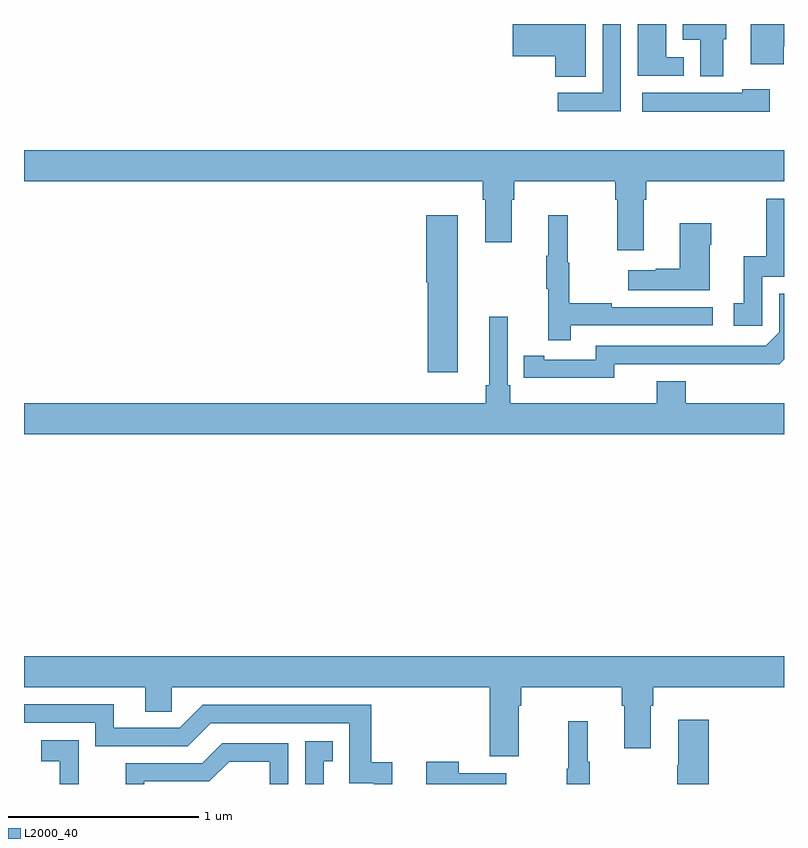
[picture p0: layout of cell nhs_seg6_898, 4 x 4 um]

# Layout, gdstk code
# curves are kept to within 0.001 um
import gdstk
lib = gdstk.Library(unit=1e-6, precision=1e-09)
def P(c, l, *ps):  # polygons
    for p in ps: c.add(gdstk.Polygon(p, *l))
L2000_40 = (2000, 40)

nhs_seg6_898 = lib.new_cell('nhs_seg6_898')
P(nhs_seg6_898, L2000_40, [(170.998,945.383),(171,945.383),(171,945.5),(170.825,945.5),(170.825,945.287),(170.998,945.287)],
  [(170.473,945.324),(170.38,945.324),(170.38,945.5),(170.231,945.5),(170.231,945.228),(170.473,945.228)],
  [(169.957,945.5),(169.572,945.5),(169.572,945.329),(169.796,945.329),(169.796,945.223),(169.957,945.223)],
  [(170.142,945.5),(170.046,945.5),(170.046,945.138),(169.809,945.138),(169.809,945.041),(170.142,945.041)],
  [(170.68,945.42),(170.695,945.42),(170.695,945.5),(170.468,945.5),(170.468,945.416),(170.558,945.416),(170.558,945.224),(170.68,945.224)],
  [(170.926,945.157),(170.781,945.157),(170.781,945.139),(170.253,945.139),(170.253,945.038),(170.926,945.038)],
  [(167,944.672),(169.415,944.672),(169.415,944.576),(169.427,944.576),(169.427,944.352),(169.567,944.352),(169.567,944.576),(169.58,944.576),(169.58,944.672),(170.111,944.672),(170.111,944.576),(170.123,944.576),(170.123,944.31),(170.263,944.31),(170.263,944.576),(170.276,944.576),(170.276,944.672),(171,944.672),(171,944.836),(167,944.836)],
  [(170.886,944.169),(171,944.169),(171,944.58),(170.907,944.58),(170.907,944.278),(170.789,944.278),(170.789,944.031),(170.736,944.031),(170.736,943.911),(170.886,943.911)],
  [(169.282,944.494),(169.118,944.494),(169.118,944.142),(169.124,944.142),(169.124,943.668),(169.282,943.668)],
  [(169.877,943.914),(170.626,943.914),(170.626,944.01),(170.093,944.01),(170.093,944.03),(169.87,944.03),(169.87,944.244),(169.862,944.244),(169.862,944.494),(169.76,944.494),(169.76,944.281),(169.749,944.281),(169.749,944.107),(169.76,944.107),(169.76,943.836),(169.877,943.836)],
  [(170.608,944.339),(170.616,944.339),(170.616,944.452),(170.45,944.452),(170.45,944.213),(170.324,944.213),(170.324,944.203),(170.181,944.203),(170.181,944.099),(170.608,944.099)],
  [(170.106,943.71),(170.974,943.709),(171,943.735),(171,944.079),(170.976,944.079),(170.976,943.878),(170.904,943.806),(170.01,943.806),(170.01,943.734),(169.738,943.734),(169.738,943.754),(169.63,943.754),(169.63,943.638),(170.106,943.637)],
  [(171,943.504),(170.483,943.504),(170.483,943.621),(170.33,943.621),(170.33,943.504),(169.559,943.504),(169.559,943.6),(169.545,943.6),(169.545,943.96),(169.448,943.96),(169.448,943.6),(169.429,943.6),(169.429,943.504),(167,943.504),(167,943.34),(171,943.34)],
  [(169.603,941.912),(169.616,941.912),(169.616,942.008),(170.147,942.008),(170.147,941.912),(170.159,941.912),(170.159,941.688),(170.299,941.688),(170.299,941.912),(170.312,941.912),(170.312,942.008),(171,942.008),(171,942.172),(167,942.172),(167,942.008),(167.639,942.008),(167.639,941.881),(167.778,941.881),(167.778,942.008),(169.451,942.008),(169.451,941.646),(169.603,941.646)],
  [(168.938,941.614),(168.827,941.614),(168.827,941.916),(167.94,941.916),(167.82,941.796),(167.473,941.796),(167.473,941.919),(167,941.919),(167,941.823),(167.376,941.823),(167.376,941.7),(167.862,941.7),(167.982,941.82),(168.711,941.82),(168.711,941.505),(168.84,941.505),(168.84,941.5),(168.938,941.5)],
  [(170.603,941.839),(170.444,941.839),(170.444,941.6),(170.437,941.6),(170.437,941.5),(170.603,941.5)],
  [(169.978,941.617),(169.967,941.617),(169.967,941.83),(169.864,941.83),(169.864,941.58),(169.857,941.58),(169.857,941.5),(169.978,941.5)],
  [(167.288,941.525),(167.289,941.525),(167.289,941.731),(167.091,941.731),(167.091,941.621),(167.189,941.621),(167.189,941.5),(167.288,941.5)],
  [(168.577,941.619),(168.626,941.619),(168.626,941.725),(168.48,941.725),(168.48,941.5),(168.577,941.5)],
  [(167.634,941.514),(167.976,941.514),(168.08,941.618),(168.294,941.618),(168.294,941.5),(168.39,941.5),(168.39,941.715),(168.044,941.715),(167.939,941.61),(167.536,941.61),(167.536,941.5),(167.634,941.5)],
  [(169.537,941.557),(169.289,941.557),(169.289,941.617),(169.118,941.617),(169.118,941.5),(169.537,941.5)])

lib.write_gds('nhs_seg6_898.gds')
